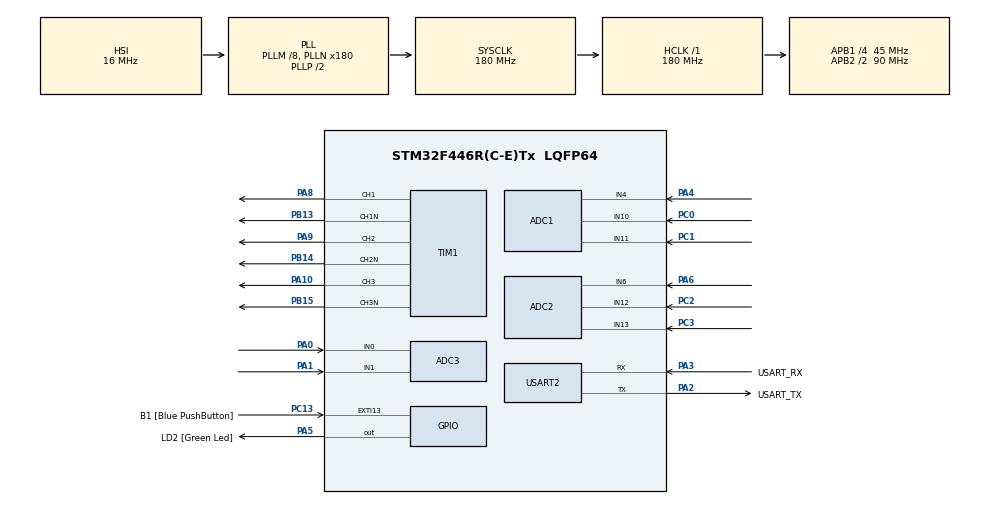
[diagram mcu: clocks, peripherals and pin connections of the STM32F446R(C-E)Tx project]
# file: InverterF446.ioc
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ADC1.Channel-1\#ChannelRegularConversion=ADC_CHANNEL_10
ADC1.ClockPrescaler=ADC_CLOCK_SYNC_PCLK_DIV4
ADC1.NbrOfConversionFlag=1
ADC1.Rank-1\#ChannelRegularConversion=1
ADC1.SamplingTime-1\#ChannelRegularConversion=ADC_SAMPLETIME_28CYCLES
ADC1.master=1
ADC2.Channel-0\#ChannelRegularConversion=ADC_CHANNEL_12
ADC2.ClockPrescaler=ADC_CLOCK_SYNC_PCLK_DIV4
ADC2.NbrOfConversionFlag=1
ADC2.Rank-0\#ChannelRegularConversion=1
ADC2.SamplingTime-0\#ChannelRegularConversion=ADC_SAMPLETIME_3CYCLES
ADC3.Channel-0\#ChannelRegularConversion=ADC_CHANNEL_0
ADC3.ClockPrescaler=ADC_CLOCK_SYNC_PCLK_DIV4
ADC3.NbrOfConversionFlag=1
ADC3.Rank-0\#ChannelRegularConversion=1
ADC3.SamplingTime-0\#ChannelRegularConversion=ADC_SAMPLETIME_3CYCLES
Mcu.Family=STM32F4
Mcu.Name=STM32F446R(C-E)Tx
Mcu.Package=LQFP64
NVIC.PriorityGroup=NVIC_PRIORITYGROUP_0
NVIC.TIM1_UP_TIM10_IRQn=true\:0\:0\:false\:false\:true\:true\:true\:true
NVIC.TIM2_IRQn=true\:0\:0\:false\:false\:true\:true\:true\:true
PA0-WKUP.Signal=ADCx_IN0
PA1.Signal=ADCx_IN1
PA10.GPIO_Speed=GPIO_SPEED_FREQ_HIGH
PA10.Signal=S_TIM1_CH3
PA13.GPIO_Label=TMS
PA13.Mode=Serial_Wire
PA13.Signal=SYS_JTMS-SWDIO
PA14.GPIO_Label=TCK
PA14.Mode=Serial_Wire
PA14.Signal=SYS_JTCK-SWCLK
PA2.GPIO_Label=USART_TX
PA2.Mode=Asynchronous
PA2.Signal=USART2_TX
PA3.GPIO_Label=USART_RX
PA3.Mode=Asynchronous
PA3.Signal=USART2_RX
PA4.Signal=ADCx_IN4
PA5.GPIO_Label=LD2 [Green Led]
PA5.GPIO_Speed=GPIO_SPEED_FREQ_MEDIUM
PA5.PinState=GPIO_PIN_SET
PA5.Signal=GPIO_Output
PA6.Signal=ADCx_IN6
PA8.GPIO_Speed=GPIO_SPEED_FREQ_HIGH
PA8.Signal=S_TIM1_CH1
PA9.GPIO_Speed=GPIO_SPEED_FREQ_HIGH
PA9.Signal=S_TIM1_CH2
PB13.GPIO_Speed=GPIO_SPEED_FREQ_HIGH
PB13.Mode=Output Compare1 CH1 CH1N
PB13.Signal=TIM1_CH1N
PB14.GPIO_Speed=GPIO_SPEED_FREQ_HIGH
PB14.Mode=Output Compare2 CH2 CH2N
PB14.Signal=TIM1_CH2N
PB15.GPIO_Speed=GPIO_SPEED_FREQ_HIGH
PB15.Mode=Output Compare3 CH3 CH3N
PB15.Signal=TIM1_CH3N
PB3.GPIO_Label=SWO
PB3.Signal=SYS_JTDO-SWO
PC0.Signal=ADCx_IN10
PC1.Signal=ADCx_IN11
PC13.GPIO_Label=B1 [Blue PushButton]
PC13.GPIO_ModeDefaultEXTI=GPIO_MODE_IT_FALLING
PC13.Signal=GPXTI13
PC14-OSC32_IN.Mode=LSE-External-Oscillator
PC14-OSC32_IN.Signal=RCC_OSC32_IN
PC15-OSC32_OUT.Mode=LSE-External-Oscillator
PC15-OSC32_OUT.Signal=RCC_OSC32_OUT
PC2.Signal=ADCx_IN12
PC3.Signal=ADCx_IN13
PH0-OSC_IN.Mode=HSE-External-Oscillator
PH0-OSC_IN.Signal=RCC_OSC_IN
PH1-OSC_OUT.Mode=HSE-External-Oscillator
PH1-OSC_OUT.Signal=RCC_OSC_OUT
ProjectManager.HeapSize=0x200
ProjectManager.StackSize=0x400
ProjectManager.TargetToolchain=STM32CubeIDE
RCC.48MHZClocksFreq_Value=84000000
RCC.AHBFreq_Value=180000000
RCC.APB1CLKDivider=RCC_HCLK_DIV4
RCC.APB1Freq_Value=45000000
RCC.APB1TimFreq_Value=90000000
RCC.APB2CLKDivider=RCC_HCLK_DIV2
RCC.APB2Freq_Value=90000000
RCC.APB2TimFreq_Value=180000000
RCC.CortexFreq_Value=180000000
RCC.FLatency-AdvancedSettings=FLASH_LATENCY_5
RCC.HCLKFreq_Value=180000000
RCC.HSE_VALUE=8000000
RCC.HSI_VALUE=16000000
RCC.PLLM=8
RCC.PLLN=180
RCC.SYSCLKFreq_VALUE=180000000
RCC.SYSCLKSource=RCC_SYSCLKSOURCE_PLLCLK
RCC.USBFreq_Value=180000000
RCC.VCOOutputFreq_Value=360000000
SH.ADCx_IN0.0=ADC3_IN0,IN0
SH.ADCx_IN1.0=ADC3_IN1,IN1
SH.ADCx_IN10.0=ADC1_IN10,IN10
SH.ADCx_IN11.0=ADC1_IN11,IN11
SH.ADCx_IN12.0=ADC2_IN12,IN12
SH.ADCx_IN13.0=ADC2_IN13,IN13
SH.ADCx_IN4.0=ADC1_IN4,IN4
SH.ADCx_IN4.1=ADC2_IN4
SH.ADCx_IN6.0=ADC2_IN6,IN6
SH.S_TIM1_CH1.0=TIM1_CH1,Output Compare1 CH1 CH1N
SH.S_TIM1_CH2.0=TIM1_CH2,Output Compare2 CH2 CH2N
SH.S_TIM1_CH3.0=TIM1_CH3,Output Compare3 CH3 CH3N
TIM1.AutoReloadPreload=TIM_AUTORELOAD_PRELOAD_ENABLE
TIM1.Channel-Output\ Compare1\ CH1\ CH1N=TIM_CHANNEL_1
TIM1.Channel-Output\ Compare2\ CH2\ CH2N=TIM_CHANNEL_2
TIM1.Channel-Output\ Compare3\ CH3\ CH3N=TIM_CHANNEL_3
TIM1.CounterMode=TIM_COUNTERMODE_CENTERALIGNED1
TIM1.DeadTime=5
TIM1.OC1Preload=ENABLE
TIM1.OC2Preload=ENABLE
TIM1.OC3Preload=ENABLE
TIM1.OCIdleState_1=TIM_OCIDLESTATE_RESET
TIM1.OCMode_1=TIM_OCMODE_TOGGLE
TIM1.OCMode_2=TIM_OCMODE_TOGGLE
TIM1.OCMode_3=TIM_OCMODE_TOGGLE
TIM1.OCNIdleState_1=TIM_OCNIDLESTATE_RESET
TIM1.OCNPolarity_1=TIM_OCNPOLARITY_HIGH
TIM1.Pulse-Output\ Compare1\ CH1\ CH1N=0
USART2.VirtualMode=VM_ASYNC
VP_TIM1_VS_ClockSourceINT.Mode=Internal
VP_TIM2_VS_ClockSourceINT.Mode=Internal
board=NUCLEO-F446RE

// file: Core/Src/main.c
/* USER CODE BEGIN Header */
/**
  ******************************************************************************
  * @file           : main.c
  * @brief          : Main program body
  ******************************************************************************
  * @attention
  *
  * Copyright (c) 2023 STMicroelectronics.
  * All rights reserved.
  *
  * This software is licensed under terms that can be found in the LICENSE file
  * in the root directory of this software component.
  * If no LICENSE file comes with this software, it is provided AS-IS.
  *
  ******************************************************************************
  */
/* USER CODE END Header */
#include "main.h"

/* USER CODE BEGIN Includes */
#include "TimerConfig.h" // Automatic timer configuration for TIM1 and TIM2.
#include "Inverter.h" // SVM algorithm.
#include "adc_meas.h" // ADC measurements + conversations.
#include "measCalc.h" // Calculating various values.
#include "PLL.h" // PLL algorithms
#include "GridEstimation.h" // Grid estimation algorithm
#include "control.h" // For control
#include "misc.h" // For micalanius functons

#include <string.h> // Used for: sprintf(...)
#include <stdio.h> // Used for: input/output
#include <stdbool.h> // Used for: Boolean data type

//#include <stdlib.h> //

/* USER CODE END Includes */

ADC_HandleTypeDef hadc1;
ADC_HandleTypeDef hadc2;
ADC_HandleTypeDef hadc3;

TIM_HandleTypeDef htim1;
TIM_HandleTypeDef htim2;

UART_HandleTypeDef huart2;

/* USER CODE BEGIN PV */
// Switching- , Nominal grid - and Sample frequency
const float f_sw = 20e3 * 2.0f; // 20kHz for every interrupt * 2 for the whole period (20kHz switching)
const float nominal_freq = 50.0f; // Nominal grid frequency
float angular_nominal_freq = nominal_freq *2.0f * 3.1415f; // Nominal angular grid frequency (This variable is used to inject grid changes)
const float sample_freq = 5e3; // Sample frequency

// Flags
bool TIM2_falg = false; // Flag for TIM2
uint32_t TIM2_flag_acumulator = 0; // Helper for TIM2_falg (increases with every sample interrupt and resets when it hits: sample_freq)

// Control variables
float Pref, Qref, angular_freq_ref, Udref;

// Modulation index, PWM and angle variables for SVM
float Mi, angle;
float PWM1, PWM2, PWM3;

// Voltage variables
float Uab, Ubc, Uca;
float UabRMS, UbcRMS, UcaRMS;
float Ua, Ub, Uc;
float UaRMS, UbRMS, UcRMS;
float Ualpha, Ubeta, Ugamma;
float Ud, Uq, Uz;

// Current variables
float Ia, Ib, Ic;
float IaRMS, IbRMS, IcRMS;
float Ialpha, Ibeta, Igamma;
float Id, Iq, Iz;

// Power variables
float P, Q, S, Pf;

// Offset voltage for ADC and DC-Link voltage
float Offset, DCLink;
float temp;

// Length of arrays
#define GridMeasNSamples 10 // Amount of stored measured samples for grid estimation
#define GridEstiNSamples 4 // Amount of estimating samples for grid estimation

// Grid Estimation
struct GridEstiMeas GridMeasValues[GridMeasNSamples]; // Stored measured samples for grid estimation
struct GridEstiVari GridEstiValues[GridEstiNSamples]; // Stored estimated samples for grid estimation

/* USER CODE END PV */

void SystemClock_Config(void);
static void MX_GPIO_Init(void);
static void MX_USART2_UART_Init(void);
static void MX_TIM1_Init(void);
static void MX_ADC1_Init(void);
static void MX_ADC2_Init(void);
static void MX_ADC3_Init(void);
static void MX_TIM2_Init(void);

/* USER CODE BEGIN 0 */
/*
 * Function for simple UART write (mainly used for simple debugging)
 */
void writeValueToUART(double value){
	char outputBuffer[256];
	uint8_t len = snprintf(outputBuffer, sizeof(outputBuffer), "Value: %f \r\n", value);
	HAL_UART_Transmit(&huart2, (uint8_t *)outputBuffer, len, 100);
}
/* USER CODE END 0 */

int main(void)
{

  /* MCU Configuration--------------------------------------------------------*/

  /* Reset of all peripherals, Initializes the Flash interface and the Systick. */
  HAL_Init();

  /* Configure the system clock */
  SystemClock_Config();

  /* Initialize all configured peripherals */
  MX_GPIO_Init();
  MX_USART2_UART_Init();
  MX_TIM1_Init();
  MX_ADC1_Init();
  MX_ADC2_Init();
  MX_ADC3_Init();
  MX_TIM2_Init();
  /* USER CODE BEGIN 2 */

/*
 * Starting PWM output channels
 */
  HAL_TIM_PWM_Start(&htim1, TIM_CHANNEL_1);
  HAL_TIMEx_PWMN_Start(&htim1, TIM_CHANNEL_1);
  HAL_TIM_PWM_Start(&htim1, TIM_CHANNEL_2);
  HAL_TIMEx_PWMN_Start(&htim1, TIM_CHANNEL_2);
  HAL_TIM_PWM_Start(&htim1, TIM_CHANNEL_3);
  HAL_TIMEx_PWMN_Start(&htim1, TIM_CHANNEL_3);

  /*
   * Configure timer interrupts for switching and sampling
   */
  TIM_freq(1, f_sw);
  TIM_freq(2, sample_freq);

  /*
   * Initialise SVM with timer information and interrupt frequency
   */
  svm_block_init(TIM1->ARR, f_sw);

  /*
   *  Set filter coefficients for measurements
   */
  Voltage_Filter_Length(5); // Set voltage measuring filter length
  Current_Filter_Length(0); // Set current measuring filter length
  Power_Filter_Length((uint32_t)((sample_freq/nominal_freq)*10.0f)); // Set power calculation filter length to 10 periods of nominal_freq
  RMS_Filter_Length((uint32_t)((sample_freq/nominal_freq)*10.0f)); // Set RMS filter length to 10 periods of nominal_freq

  /*
   * Initialise Grid estimation variables
   */
  InitiliseGridStruct(GridEstiNSamples, GridEstiValues);

  /*
   * Initialise Droop
   */
  Droop_Config(25.0f, 25.0f, f_sw);
  Udref = 1.9f; // 1.9V*sqrt(3) = 3.3Vpp Line-line voltage // Ud measured from Line-Neutral. Making Ud peak line-neutral
  Pref = 0.05f; // Active Power reference for Droop control
  Qref = 0.0f; // Reactive Power reference for Droop control
  angular_freq_ref = angular_nominal_freq; // angular grid frequency reference for Droop control

  /*
   * Initialisation for Grid Following
   */
  LCL_Angle_Compensation(nominal_freq);
  dqPLL_Config(nominal_freq, sample_freq);
  AlphaBetaPLL_Config(nominal_freq, sample_freq);

  /*
   * Initialisation for Grid Forming
   */

  /*
   * Initial measurement for ADC Offset (is a must!) and DC Link voltage
   */
  for (int i = 0; i < (uint32_t)10e3; ++i) {
	  DCLink = Voltage_DCLink();
	  Offset = Voltage_Offset();
  }

  /*
   *  Start TIM1 and TIM2 Interrupts!
   */
  HAL_TIM_Base_Start_IT(&htim1);
  HAL_TIM_Base_Start_IT(&htim2);
  /* USER CODE END 2 */

  /* Infinite loop */
  /* USER CODE BEGIN WHILE */
  while (1)
  {

	  /*
	   * Runs every 1/sample_freq
	   */
	  if (TIM2_falg) {
		  TIM2_falg = false;

		  // Updates DC link voltage slow
		  Voltage_Offset();

		  /*
		   * Measure grid voltages
		   */
		  Uab = meas_Uab(Uab);
		  Ubc = meas_Ubc(Ubc);
		  Uca = meas_Uca(Uca);
		  // Re-calculate phase-phase voltages to phase-neutral voltages
		  calc_Uxx_to_Uxn(Uab, Ubc, Uca, &Ua, &Ub, &Uc);

		  /*
		   * Measure grid currents
		   */
		  Ia = meas_Ia(Ia);
		  Ib = meas_Ib(Ib);
		  //Ic = meas_Ic(Ic);
		  // Calculating the Power
		  calc_Instantaneous_Power(Ua, Ub, Uc, Ia, Ib, Ic, &P, &Q);

		  // Calculate the Voltage RMS values
		  //calc_RMS(Ua, Ub, Uc, &UaRMS, &UbRMS, &UcRMS);
		  //calc_RMS(Uab, Ubc, Uca, &UabRMS, &UbcRMS, &UcaRMS);
		  // Calculate the Current RMS values
		  //calc_RMS(Ia, Ib, Ic, &IaRMS, &IbRMS, &IcRMS);
		  // Calculating Power Factor
		  //Pf = calc_Power_Factor(P, Q);

/*
		  if(TIM2_flag_acumulator < GridMeasNSamples){
			  GridMeasValues[TIM2_flag_acumulator].Pn = sqrtf(P*P);
			  GridMeasValues[TIM2_flag_acumulator].Qn = sqrtf(Q*Q);
			  GridMeasValues[TIM2_flag_acumulator].Vn = (UaRMS + UbRMS + UcRMS)/3.0f;
		  }
*/

		  /*
		   * Runs every second
		   */
		  if (TIM2_flag_acumulator >= sample_freq) {
			  TIM2_flag_acumulator = 0;

			  //transf_abc_to_dq(Ua, Ub, Uc, angle, &temp, &Uq);
			  //GeneticandRandomSearch(GridMeasNSamples, GridEstiNSamples, GridMeasValues, GridEstiValues);

			  char outputBuffer[256];
			  //uint8_t len = snprintf(outputBuffer, sizeof(outputBuffer), "UaRMS: %.2f. UbRMS: %.2f. UcRMS: %.2f. IaRMS: %.2f. IbRMS: %.2f. IcRMS: %.2f. P: %.2f. Q: %.2f. X: %.2f. R: %.2f. Eg: %.2f. Error: %.2f. SVM angle: %.2f. PLL angle: %.2f. Angle Error: %.2f.\r\n", UaRMS, UbRMS, UcRMS, IaRMS, IbRMS, IcRMS, P, Q, GridEstiValues[0].X, GridEstiValues[0].R, GridEstiValues[0].Eg, GridEstiValues[0].Error, angle, theta, residiual_angle);
			  uint8_t len = snprintf(outputBuffer, sizeof(outputBuffer), "UaRMS: %.2f. UbRMS: %.2f. UcRMS: %.2f. IaRMS: %.3f. IbRMS: %.3f. IcRMS: %.3f. P: %.4f. Q: %.4f. PF: %.2f. SVM angle: %.2f. Ud: %0.2f. Uq: %0.2f.\r\n", UaRMS, UbRMS, UcRMS, IaRMS, IbRMS, IcRMS, P, Q, Pf, angle, Ud, Uq);
			  HAL_UART_Transmit(&huart2, (uint8_t *)outputBuffer, len, 100);

		  }
		  TIM2_flag_acumulator++;

	  }
    /* USER CODE END WHILE */

  }
}

void SystemClock_Config(void)
{
  RCC_OscInitTypeDef RCC_OscInitStruct = {0};
  RCC_ClkInitTypeDef RCC_ClkInitStruct = {0};

  /** Configure the main internal regulator output voltage
  */
  __HAL_RCC_PWR_CLK_ENABLE();
  __HAL_PWR_VOLTAGESCALING_CONFIG(PWR_REGULATOR_VOLTAGE_SCALE1);

  /** Initializes the RCC Oscillators according to the specified parameters
  * in the RCC_OscInitTypeDef structure.
  */
  RCC_OscInitStruct.OscillatorType = RCC_OSCILLATORTYPE_HSI;
  RCC_OscInitStruct.HSIState = RCC_HSI_ON;
  RCC_OscInitStruct.HSICalibrationValue = RCC_HSICALIBRATION_DEFAULT;
  RCC_OscInitStruct.PLL.PLLState = RCC_PLL_ON;
  RCC_OscInitStruct.PLL.PLLSource = RCC_PLLSOURCE_HSI;
  RCC_OscInitStruct.PLL.PLLM = 8;
  RCC_OscInitStruct.PLL.PLLN = 180;
  RCC_OscInitStruct.PLL.PLLP = RCC_PLLP_DIV2;
  RCC_OscInitStruct.PLL.PLLQ = 2;
  RCC_OscInitStruct.PLL.PLLR = 2;
  if (HAL_RCC_OscConfig(&RCC_OscInitStruct) != HAL_OK)
  {
    Error_Handler();
  }

  /** Activate the Over-Drive mode
  */
  if (HAL_PWREx_EnableOverDrive() != HAL_OK)
  {
    Error_Handler();
  }

  /** Initializes the CPU, AHB and APB buses clocks
  */
  RCC_ClkInitStruct.ClockType = RCC_CLOCKTYPE_HCLK|RCC_CLOCKTYPE_SYSCLK
                              |RCC_CLOCKTYPE_PCLK1|RCC_CLOCKTYPE_PCLK2;
  RCC_ClkInitStruct.SYSCLKSource = RCC_SYSCLKSOURCE_PLLCLK;
  RCC_ClkInitStruct.AHBCLKDivider = RCC_SYSCLK_DIV1;
  RCC_ClkInitStruct.APB1CLKDivider = RCC_HCLK_DIV4;
  RCC_ClkInitStruct.APB2CLKDivider = RCC_HCLK_DIV2;

  if (HAL_RCC_ClockConfig(&RCC_ClkInitStruct, FLASH_LATENCY_5) != HAL_OK)
  {
    Error_Handler();
  }
}

static void MX_ADC1_Init(void)
{

  ADC_ChannelConfTypeDef sConfig = {0};

  /** Configure the global features of the ADC (Clock, Resolution, Data Alignment and number of conversion)
  */
  hadc1.Instance = ADC1;
  hadc1.Init.ClockPrescaler = ADC_CLOCK_SYNC_PCLK_DIV4;
  hadc1.Init.Resolution = ADC_RESOLUTION_12B;
  hadc1.Init.ScanConvMode = DISABLE;
  hadc1.Init.ContinuousConvMode = DISABLE;
  hadc1.Init.DiscontinuousConvMode = DISABLE;
  hadc1.Init.ExternalTrigConvEdge = ADC_EXTERNALTRIGCONVEDGE_NONE;
  hadc1.Init.ExternalTrigConv = ADC_SOFTWARE_START;
  hadc1.Init.DataAlign = ADC_DATAALIGN_RIGHT;
  hadc1.Init.NbrOfConversion = 1;
  hadc1.Init.DMAContinuousRequests = DISABLE;
  hadc1.Init.EOCSelection = ADC_EOC_SINGLE_CONV;
  if (HAL_ADC_Init(&hadc1) != HAL_OK)
  {
    Error_Handler();
  }

  /** Configure for the selected ADC regular channel its corresponding rank in the sequencer and its sample time.
  */
  sConfig.Channel = ADC_CHANNEL_10;
  sConfig.Rank = 1;
  sConfig.SamplingTime = ADC_SAMPLETIME_28CYCLES;
  if (HAL_ADC_ConfigChannel(&hadc1, &sConfig) != HAL_OK)
  {
    Error_Handler();
  }

}

static void MX_ADC2_Init(void)
{

  ADC_ChannelConfTypeDef sConfig = {0};

  /** Configure the global features of the ADC (Clock, Resolution, Data Alignment and number of conversion)
  */
  hadc2.Instance = ADC2;
  hadc2.Init.ClockPrescaler = ADC_CLOCK_SYNC_PCLK_DIV4;
  hadc2.Init.Resolution = ADC_RESOLUTION_12B;
  hadc2.Init.ScanConvMode = DISABLE;
  hadc2.Init.ContinuousConvMode = DISABLE;
  hadc2.Init.DiscontinuousConvMode = DISABLE;
  hadc2.Init.ExternalTrigConvEdge = ADC_EXTERNALTRIGCONVEDGE_NONE;
  hadc2.Init.ExternalTrigConv = ADC_SOFTWARE_START;
  hadc2.Init.DataAlign = ADC_DATAALIGN_RIGHT;
  hadc2.Init.NbrOfConversion = 1;
  hadc2.Init.DMAContinuousRequests = DISABLE;
  hadc2.Init.EOCSelection = ADC_EOC_SINGLE_CONV;
  if (HAL_ADC_Init(&hadc2) != HAL_OK)
  {
    Error_Handler();
  }

  /** Configure for the selected ADC regular channel its corresponding rank in the sequencer and its sample time.
  */
  sConfig.Channel = ADC_CHANNEL_12;
  sConfig.Rank = 1;
  sConfig.SamplingTime = ADC_SAMPLETIME_3CYCLES;
  if (HAL_ADC_ConfigChannel(&hadc2, &sConfig) != HAL_OK)
  {
    Error_Handler();
  }

}

static void MX_ADC3_Init(void)
{

  ADC_ChannelConfTypeDef sConfig = {0};

  /** Configure the global features of the ADC (Clock, Resolution, Data Alignment and number of conversion)
  */
  hadc3.Instance = ADC3;
  hadc3.Init.ClockPrescaler = ADC_CLOCK_SYNC_PCLK_DIV4;
  hadc3.Init.Resolution = ADC_RESOLUTION_12B;
  hadc3.Init.ScanConvMode = DISABLE;
  hadc3.Init.ContinuousConvMode = DISABLE;
  hadc3.Init.DiscontinuousConvMode = DISABLE;
  hadc3.Init.ExternalTrigConvEdge = ADC_EXTERNALTRIGCONVEDGE_NONE;
  hadc3.Init.ExternalTrigConv = ADC_SOFTWARE_START;
  hadc3.Init.DataAlign = ADC_DATAALIGN_RIGHT;
  hadc3.Init.NbrOfConversion = 1;
  hadc3.Init.DMAContinuousRequests = DISABLE;
  hadc3.Init.EOCSelection = ADC_EOC_SINGLE_CONV;
  if (HAL_ADC_Init(&hadc3) != HAL_OK)
  {
    Error_Handler();
  }

  /** Configure for the selected ADC regular channel its corresponding rank in the sequencer and its sample time.
  */
  sConfig.Channel = ADC_CHANNEL_0;
  sConfig.Rank = 1;
  sConfig.SamplingTime = ADC_SAMPLETIME_3CYCLES;
  if (HAL_ADC_ConfigChannel(&hadc3, &sConfig) != HAL_OK)
  {
    Error_Handler();
  }

}

static void MX_TIM1_Init(void)
{

  TIM_ClockConfigTypeDef sClockSourceConfig = {0};
  TIM_MasterConfigTypeDef sMasterConfig = {0};
  TIM_OC_InitTypeDef sConfigOC = {0};
  TIM_BreakDeadTimeConfigTypeDef sBreakDeadTimeConfig = {0};

  htim1.Instance = TIM1;
  htim1.Init.Prescaler = 0;
  htim1.Init.CounterMode = TIM_COUNTERMODE_CENTERALIGNED1;
  htim1.Init.Period = 65535;
  htim1.Init.ClockDivision = TIM_CLOCKDIVISION_DIV1;
  htim1.Init.RepetitionCounter = 0;
  htim1.Init.AutoReloadPreload = TIM_AUTORELOAD_PRELOAD_ENABLE;
  if (HAL_TIM_Base_Init(&htim1) != HAL_OK)
  {
    Error_Handler();
  }
  sClockSourceConfig.ClockSource = TIM_CLOCKSOURCE_INTERNAL;
  if (HAL_TIM_ConfigClockSource(&htim1, &sClockSourceConfig) != HAL_OK)
  {
    Error_Handler();
  }
  if (HAL_TIM_OC_Init(&htim1) != HAL_OK)
  {
    Error_Handler();
  }
  sMasterConfig.MasterOutputTrigger = TIM_TRGO_RESET;
  sMasterConfig.MasterSlaveMode = TIM_MASTERSLAVEMODE_DISABLE;
  if (HAL_TIMEx_MasterConfigSynchronization(&htim1, &sMasterConfig) != HAL_OK)
  {
    Error_Handler();
  }
  sConfigOC.OCMode = TIM_OCMODE_TOGGLE;
  sConfigOC.Pulse = 0;
  sConfigOC.OCPolarity = TIM_OCPOLARITY_HIGH;
  sConfigOC.OCNPolarity = TIM_OCNPOLARITY_HIGH;
  sConfigOC.OCFastMode = TIM_OCFAST_DISABLE;
  sConfigOC.OCIdleState = TIM_OCIDLESTATE_RESET;
  sConfigOC.OCNIdleState = TIM_OCNIDLESTATE_RESET;
  if (HAL_TIM_OC_ConfigChannel(&htim1, &sConfigOC, TIM_CHANNEL_1) != HAL_OK)
  {
    Error_Handler();
  }
  __HAL_TIM_ENABLE_OCxPRELOAD(&htim1, TIM_CHANNEL_1);
  if (HAL_TIM_OC_ConfigChannel(&htim1, &sConfigOC, TIM_CHANNEL_2) != HAL_OK)
  {
    Error_Handler();
  }
  __HAL_TIM_ENABLE_OCxPRELOAD(&htim1, TIM_CHANNEL_2);
  if (HAL_TIM_OC_ConfigChannel(&htim1, &sConfigOC, TIM_CHANNEL_3) != HAL_OK)
  {
    Error_Handler();
  }
  __HAL_TIM_ENABLE_OCxPRELOAD(&htim1, TIM_CHANNEL_3);
  sBreakDeadTimeConfig.OffStateRunMode = TIM_OSSR_DISABLE;
  sBreakDeadTimeConfig.OffStateIDLEMode = TIM_OSSI_DISABLE;
  sBreakDeadTimeConfig.LockLevel = TIM_LOCKLEVEL_OFF;
  sBreakDeadTimeConfig.DeadTime = 5;
  sBreakDeadTimeConfig.BreakState = TIM_BREAK_DISABLE;
  sBreakDeadTimeConfig.BreakPolarity = TIM_BREAKPOLARITY_HIGH;
  sBreakDeadTimeConfig.AutomaticOutput = TIM_AUTOMATICOUTPUT_DISABLE;
  if (HAL_TIMEx_ConfigBreakDeadTime(&htim1, &sBreakDeadTimeConfig) != HAL_OK)
  {
    Error_Handler();
  }
  HAL_TIM_MspPostInit(&htim1);

}

static void MX_TIM2_Init(void)
{

  TIM_ClockConfigTypeDef sClockSourceConfig = {0};
  TIM_MasterConfigTypeDef sMasterConfig = {0};

  htim2.Instance = TIM2;
  htim2.Init.Prescaler = 0;
  htim2.Init.CounterMode = TIM_COUNTERMODE_UP;
  htim2.Init.Period = 4294967295;
  htim2.Init.ClockDivision = TIM_CLOCKDIVISION_DIV1;
  htim2.Init.AutoReloadPreload = TIM_AUTORELOAD_PRELOAD_DISABLE;
  if (HAL_TIM_Base_Init(&htim2) != HAL_OK)
  {
    Error_Handler();
  }
  sClockSourceConfig.ClockSource = TIM_CLOCKSOURCE_INTERNAL;
  if (HAL_TIM_ConfigClockSource(&htim2, &sClockSourceConfig) != HAL_OK)
  {
    Error_Handler();
  }
  sMasterConfig.MasterOutputTrigger = TIM_TRGO_RESET;
  sMasterConfig.MasterSlaveMode = TIM_MASTERSLAVEMODE_DISABLE;
  if (HAL_TIMEx_MasterConfigSynchronization(&htim2, &sMasterConfig) != HAL_OK)
  {
    Error_Handler();
  }

}

static void MX_USART2_UART_Init(void)
{

  huart2.Instance = USART2;
  huart2.Init.BaudRate = 115200;
  huart2.Init.WordLength = UART_WORDLENGTH_8B;
  huart2.Init.StopBits = UART_STOPBITS_1;
  huart2.Init.Parity = UART_PARITY_NONE;
  huart2.Init.Mode = UART_MODE_TX_RX;
  huart2.Init.HwFlowCtl = UART_HWCONTROL_NONE;
  huart2.Init.OverSampling = UART_OVERSAMPLING_16;
  if (HAL_UART_Init(&huart2) != HAL_OK)
  {
    Error_Handler();
  }

}

static void MX_GPIO_Init(void)
{
  GPIO_InitTypeDef GPIO_InitStruct = {0};

  /* GPIO Ports Clock Enable */
  __HAL_RCC_GPIOC_CLK_ENABLE();
  __HAL_RCC_GPIOH_CLK_ENABLE();
  __HAL_RCC_GPIOA_CLK_ENABLE();
  __HAL_RCC_GPIOB_CLK_ENABLE();

  /*Configure GPIO pin Output Level */
  HAL_GPIO_WritePin(LD2_GPIO_Port, LD2_Pin, GPIO_PIN_SET);

  /*Configure GPIO pin : B1_Pin */
  GPIO_InitStruct.Pin = B1_Pin;
  GPIO_InitStruct.Mode = GPIO_MODE_IT_FALLING;
  GPIO_InitStruct.Pull = GPIO_NOPULL;
  HAL_GPIO_Init(B1_GPIO_Port, &GPIO_InitStruct);

  /*Configure GPIO pin : LD2_Pin */
  GPIO_InitStruct.Pin = LD2_Pin;
  GPIO_InitStruct.Mode = GPIO_MODE_OUTPUT_PP;
  GPIO_InitStruct.Pull = GPIO_NOPULL;
  GPIO_InitStruct.Speed = GPIO_SPEED_FREQ_MEDIUM;
  HAL_GPIO_Init(LD2_GPIO_Port, &GPIO_InitStruct);

}

/* USER CODE BEGIN 4 */
void HAL_TIM_PeriodElapsedCallback(TIM_HandleTypeDef* htim){

	if(htim->Instance==TIM1){

		/*
		 * Grid Forming
		 */
		Droop_Forming_Resistive(P, Q, Pref, Qref, angular_nominal_freq, Udref, &angle, &Ud);
		Mi = Ud_to_Mi(DCLink, Ud);
		/*
		 * Grid Following
		 */
		//angle = dqPLL(Ua, Ub, Uc, &Ud);
		//angle = AlphaBetaPLL(Ua, Ub, Uc);

	    svm_block(Mi, angle, &PWM1, &PWM2, &PWM3);
	    TIM1->CCR1 = PWM1;
	    TIM1->CCR2 = PWM2;
	    TIM1->CCR3 = PWM3;

	}

	if(htim->Instance==TIM2){
		/*
		 * TIM2_falg to use in main-loop so it doesn't clog up the SVM.
		 */
		//char outputBuffer[256];
		//uint8_t len = snprintf(outputBuffer, sizeof(outputBuffer), "P: %.4f. Q: %.4f. Ud: %0.2f. Uq: %0.2f. Mi: %0.2f.\r\n", P, Q, Ud, Uq, Mi);
		//HAL_UART_Transmit(&huart2, (uint8_t *)outputBuffer, len, 100);
		TIM2_falg = true;
	}
}

/* USER CODE END 4 */

void Error_Handler(void)
{
  /* USER CODE BEGIN Error_Handler_Debug */
  /* User can add his own implementation to report the HAL error return state */

  __disable_irq();

	char ErrorBuffer[256];
	uint8_t ErrorLen = snprintf(ErrorBuffer, sizeof(ErrorBuffer), "\r\n Error! Stuck in Error_Handler! \r\n");
	HAL_UART_Transmit(&huart2, (uint8_t *)ErrorBuffer, ErrorLen, 100);

  while (1)
  {
  }
  /* USER CODE END Error_Handler_Debug */
}
